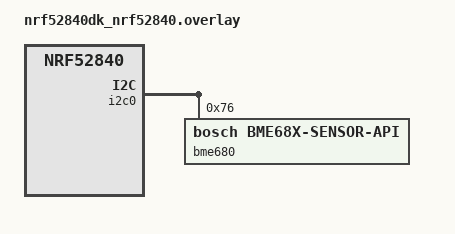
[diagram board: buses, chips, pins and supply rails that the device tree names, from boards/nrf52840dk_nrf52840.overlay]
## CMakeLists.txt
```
# SPDX-License-Identifier: Apache-2.0

cmake_minimum_required(VERSION 3.20.5)

# Add path to the extra module if bme68x is not
# installed as an external project managed by West:
#
# list(APPEND ZEPHYR_EXTRA_MODULES
#    ${CMAKE_SOURCE_DIR}/../..
# )

find_package(Zephyr REQUIRED HINTS $ENV{ZEPHYR_BASE})
project(sample-bme68x-iaq)

target_sources(app PRIVATE
  src/main.c
)

target_compile_options(app PRIVATE -Wall -Werror)
```

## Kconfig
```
# Copyright (c) 2024, Chris Duf
#
# SPDX-License-Identifier: Apache-2.0

menu "BME68X Sample - IAQ"

module = BME68X_SAMPLE
module-str = app
source "subsys/logging/Kconfig.template.log_config"

endmenu # "BME68X Sample - IAQ"

source "Kconfig.zephyr"
```

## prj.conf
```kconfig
# SPDX-License-Identifier: Apache-2.0

# Implied when the devicetree contains compatible devices:
# CONFIG_BME68X_SENSOR_API_DRIVER=y
# CONFIG_BME68X_SENSOR_API=y

# Enable BSEC library and IAQ helpers API.
CONFIG_BSEC=y
CONFIG_BME68X_IAQ=y
# Troubleshoot BSEC control loop.
# CONFIG_BME68X_IAQ_LOG_LEVEL_DBG=y

# Adjust stick size to accommodate the BSEC working buffers.
CONFIG_MAIN_STACK_SIZE=8192

# To enable the floating-point version of BME68X Sensor API:
# CONFIG_BME68X_SENSOR_API_FLOAT=y
# If so, consider to also enable float support in cbprintf():
# CONFIG_CBPRINTF_FP_SUPPORT=y
#
# Without CBPRINTF_FP_SUPPORT, logging float format specifiers
# would output:
# - picolibc: T:*float* deg C, P:*float* kPa, H:*float* %, G:*float* kOhm
# - newlibc:  T:%.02f deg C, P:%.03f kPa, H:%.03f %, G:%.03f kOhm
#
# See e.g. https://github.com/zephyrproject-rtos/zephyr/issues/18351

# To enable hardware floating-point ABI:
# CONFIG_FPU=y

# Troubleshoot communication interfaces
# CONFIG_I2C_LOG_LEVEL_DBG=y
# CONFIG_SPI_LOG_LEVEL_DBG=y

CONFIG_LOG=y
CONFIG_STDOUT_CONSOLE=y
```

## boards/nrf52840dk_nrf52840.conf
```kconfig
# Copyright (c) 2024, Chris Duf
#
# SPDX-License-Identifier: Apache-2.0

# Enable Flash Non Volatile Storage
CONFIG_NVS=y
CONFIG_FLASH=y
CONFIG_FLASH_MAP=y

# Enable BSEC state persistence to per-device settings.
CONFIG_BME68X_IAQ_SETTINGS=y
CONFIG_SETTINGS=y
CONFIG_SETTINGS_NVS=y

# Troubleshoot NVS.
#
# CONFIG_NVS_LOG_LEVEL_DBG=y
# CONFIG_FLASH_LOG_LEVEL_DBG=y
```

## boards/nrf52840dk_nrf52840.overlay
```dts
/*
 * SPDX-License-Identifier: Apache-2.0
 *
 * Example DTS overlay with a single BME680/688 device
 * connected to I2C and a flash partition dedicated
 * to BSEC state persistence.
 */

&i2c0 {
	bme680@76 {
		compatible = "bosch,bme68x-sensor-api";
		reg = <0x76>;
	};
};
```

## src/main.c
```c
/*
 * Copyright (c) 2024, Chris Duf
 *
 * SPDX-License-Identifier: Apache-2.0
 *
 * Index for Air Quality (IAQ) with BSEC and the BME68X Sensor API.
 */

#include <zephyr/kernel.h>
#include <zephyr/logging/log.h>

#ifdef CONFIG_BME68X_IAQ_SETTINGS
#include <zephyr/settings/settings.h>
#endif

#include <drivers/bme68x_sensor_api.h>

#include "bme68x.h"

#include "bme68x_iaq.h"

LOG_MODULE_REGISTER(app, CONFIG_BME68X_SAMPLE_LOG_LEVEL);

/*
 * We'll print only integer values to not impose additional configuration
 * for supporting floats in format string specifiers.
 */
struct fixed_point {
	/* Integer part. */
	int32_t q;
	/* Fractional digits (variable precision). */
	uint32_t r;
};
struct iaq_output {
	/*
	 * Temperature measured by BME680/688 in degree Celsius.
	 * Precision 1/100 degC (2-digits remainder).
	 */
	struct fixed_point raw_temperature;
	/*
	 * Pressure measured by the BME680/688 in kPa.
	 * Precision 1 Pa (3-digits remainder).
	 */
	struct fixed_point raw_pressure;
	/*
	 * Relative directly measured by the BME680/688 in %.
	 * Precision 1/100 percent (2-digits remainder).
	 */
	struct fixed_point raw_humidity;
	/*
	 * Gas resistance measured by the BME680/688 in kOhm.
	 * Precision 1 Ohm (3-digits remainder).
	 */
	struct fixed_point raw_gas_res;
	/*
	 * Gas resistance measured by the BME680/688 compensated by
	 * temperature and humidity influences in kOhm.
	 * Precision 1 Ohm (3-digits remainder).
	 */
	struct fixed_point gas_res;
	/*
	 * Sensor heat compensated temperature in degrees Celsius.
	 * Precision 1/100 degC (2-digits remainder).
	 */
	struct fixed_point temperature;
	/*
	 * Sensor heat compensated relative humidity in %.
	 * Precision 1/100 percent (2-digits remainder).
	 */
	struct fixed_point humidity;
	/* Scaled IAQ [0,500]. */
	uint16_t iaq;
	enum bme68x_iaq_accuracy iaq_accuracy;
	/* CO2 equivalent estimate in ppm. */
	uint32_t co2_equivalent;
	enum bme68x_iaq_accuracy co2_accuracy;
	/*
	 * VOC estimate in ppm.
	 * Precision 1/100 ppm (2-digits remainder).
	 */
	struct fixed_point voc_equivalent;
	enum bme68x_iaq_accuracy voc_accuracy;
	enum bme68x_iaq_status stab_status;
	enum bme68x_iaq_status run_status;
};

/* Log IAQ samples. */
static void iaq_output_handler(struct bme68x_iaq_sample const *iaq_sample);

int main(void)
{
	/* Any compatible device will be fine. */
	struct device const *const dev = DEVICE_DT_GET_ONE(bosch_bme68x_sensor_api);

	struct bme68x_dev bme68x_dev = {0};
	int ret = bme68x_sensor_api_init(dev, &bme68x_dev);
	if (!ret) {
		ret = bme68x_init(&bme68x_dev);
	}
	if (ret) {
		LOG_ERR("sensor initialization failed: %d", ret);
		goto sleep_forever;
	}

#ifdef CONFIG_BME68X_IAQ_SETTINGS
	/* Shall be initialized before the bme68x_iaq library. */
	settings_subsys_init();
#endif

	ret = bme68x_iaq_init();
	if (ret) {
		LOG_ERR("IAQ initialization failed: %d", ret);
		goto sleep_forever;
	}

	/* Enter BSEC control loop. */
	bme68x_iaq_run(&bme68x_dev, iaq_output_handler);

sleep_forever:
	k_sleep(K_FOREVER);
	return 0;
}

static inline void fixed_point_init(float x, unsigned int precision,
				    struct fixed_point *fixed_point)
{
	fixed_point->q = (x / precision) * precision;
	fixed_point->r = (x - fixed_point->q) * precision * (fixed_point->q < 0 ? -1 : 1);
}

static void iaq_output_init(struct bme68x_iaq_sample const *iaq_sample,
			    struct iaq_output *iaq_output)
{
	/* degC to degC, centidegrees precision. */
	fixed_point_init(iaq_sample->raw_temperature, 100, &iaq_output->raw_temperature);
	fixed_point_init(iaq_sample->temperature, 100, &iaq_output->temperature);
	/* Pa to kPa, Pa precision */
	fixed_point_init(iaq_sample->raw_pressure / 1000, 1000, &iaq_output->raw_pressure);
	/* percent to percent, centipercent precision. */
	fixed_point_init(iaq_sample->raw_humidity, 100, &iaq_output->raw_humidity);
	fixed_point_init(iaq_sample->humidity, 100, &iaq_output->humidity);
	/* Ohm to kOhm, Ohm precision. */
	fixed_point_init(iaq_sample->raw_gas_res / 1000, 1000, &iaq_output->raw_gas_res);
	fixed_point_init(iaq_sample->gas_res / 1000, 1000, &iaq_output->gas_res);
	/* IAQ scaled to [0,500]. */
	iaq_output->iaq = (uint16_t)iaq_sample->iaq;
	iaq_output->iaq_accuracy = iaq_sample->iaq_accuracy;
	/* ppm (death comes at 250000 ppm). */
	iaq_output->co2_equivalent = (uint32_t)iaq_sample->co2_equivalent;
	iaq_output->co2_accuracy = iaq_sample->co2_accuracy;
	/* ppm, 1/100 ppm precision. */
	fixed_point_init(iaq_sample->voc_equivalent, 100, &iaq_output->voc_equivalent);
	iaq_output->voc_accuracy = iaq_sample->voc_accuracy;
	iaq_output->stab_status = iaq_sample->stab_status;
	iaq_output->run_status = iaq_sample->run_status;
}

void iaq_output_handler(struct bme68x_iaq_sample const *iaq_sample)
{
	static char const *accuracy2str[] = {
		[BME68X_IAQ_ACCURACY_UNRELIABLE] = "unreliable",
		[BME68X_IAQ_ACCURACY_LOW] = "low accuracy",
		[BME68X_IAQ_ACCURACY_MEDIUM] = "medium accuracy",
		[BME68X_IAQ_ACCURACY_HIGH] = "high accuracy",
	};
	static char const *stab2str[] = {
		[BME68X_IAQ_STAB_ONGOING] = "on-going",
		[BME68X_IAQ_STAB_FINISHED] = "finished",
	};

	struct iaq_output iaq_output;
	iaq_output_init(iaq_sample, &iaq_output);

	LOG_INF("-- IAQ output (%d signals) --", iaq_sample->cnt_outputs);
	LOG_INF("T:%d.%02u degC (raw: %d.%02u)", iaq_output.temperature.q, iaq_output.temperature.r,
		iaq_output.raw_temperature.q, iaq_output.raw_temperature.r);
	LOG_INF("P:%d.%03u kPa", iaq_output.raw_pressure.q, iaq_output.raw_pressure.r);
	LOG_INF("H:%d.%02u %% (raw: %d.%02u)", iaq_output.humidity.q, iaq_output.humidity.r,
		iaq_output.raw_humidity.q, iaq_output.raw_humidity.r);
	LOG_INF("G:%d.%03u kOhm (raw: %d.%03u kOhm)", iaq_output.gas_res.q, iaq_output.gas_res.r,
		iaq_output.raw_gas_res.q, iaq_output.raw_gas_res.r);
	LOG_INF("IAQ:%u (%s)", iaq_output.iaq, accuracy2str[iaq_output.iaq_accuracy]);
	LOG_INF("CO2:%u ppm (%s)", iaq_output.co2_equivalent,
		accuracy2str[iaq_output.co2_accuracy]);
	LOG_INF("VOC:%d.%02u ppm (%s)", iaq_output.voc_equivalent.q, iaq_output.voc_equivalent.r,
		accuracy2str[iaq_output.voc_accuracy]);
	LOG_INF("stabilization:%s, run-in:%s", stab2str[iaq_output.stab_status],
		stab2str[iaq_output.run_status]);
}
```
